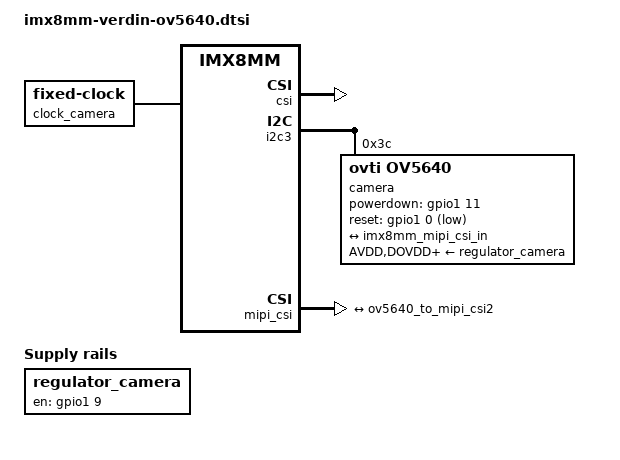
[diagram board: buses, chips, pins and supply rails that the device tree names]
// SPDX-License-Identifier: GPL-2.0-or-later OR MIT
/*
 * Copyright (c) Toradex
 *
 * Common device tree include for Toradex OV5640 CSI camera on Verdin CSI_1.
 */

#include <dt-bindings/gpio/gpio.h>

&{/} {
	clock_camera: clock-camera {
		compatible = "fixed-clock";
		#clock-cells = <0>;
	};

	regulator_camera: regulator-camera {
		compatible = "regulator-fixed";
		/* Verdin GPIO_8_CSI (SODIMM 222) - CSI_1_PWR_EN */
		gpios = <&gpio1 9 GPIO_ACTIVE_HIGH>;
		enable-active-high;
		regulator-name = "V_CSI";
		startup-delay-us = <5000>;
	};
};

&csi {
	status = "okay";
};

/* Verdin I2C_4_CSI */
&i2c3 {
	#address-cells = <1>;
	#size-cells = <0>;

	status = "okay";

	camera@3c {
		compatible = "ovti,ov5640";
		reg = <0x3c>;
		pinctrl-names = "default";
		pinctrl-0 = <&pinctrl_gpio5>, <&pinctrl_gpio6>;
		clocks = <&clock_camera>;
		clock-names = "xclk";
		AVDD-supply = <&regulator_camera>;
		DOVDD-supply = <&regulator_camera>;
		DVDD-supply = <&regulator_camera>;
		/* Verdin GPIO_6_CSI (SODIMM 218) - CSI_1_PWDN */
		powerdown-gpios = <&gpio1 11 GPIO_ACTIVE_HIGH>;
		/* Verdin GPIO_5_CSI (SODIMM 216) - CSI_1_RESET# */
		reset-gpios = <&gpio1 0 GPIO_ACTIVE_LOW>;

		port {
			ov5640_to_mipi_csi2: endpoint {
				clock-lanes = <0>;
				data-lanes = <1 2>;
				remote-endpoint = <&imx8mm_mipi_csi_in>;
			};
		};
	};
};

&mipi_csi {
	status = "okay";

	ports {
		#address-cells = <1>;
		#size-cells = <0>;

		port@0 {
			reg = <0>;

			imx8mm_mipi_csi_in: endpoint {
				data-lanes = <1 2>;
				remote-endpoint = <&ov5640_to_mipi_csi2>;
			};
		};
	};
};
